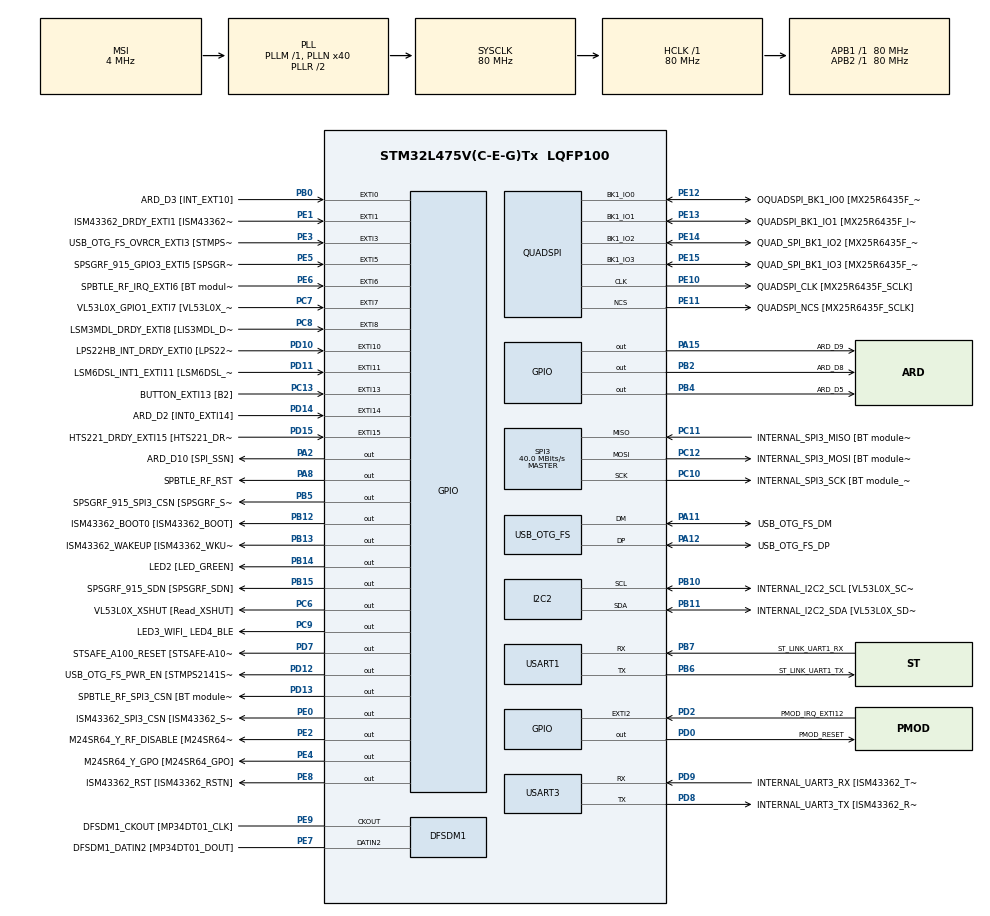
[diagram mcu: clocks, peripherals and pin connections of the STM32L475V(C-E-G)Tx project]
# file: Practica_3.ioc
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Mcu.Family=STM32L4
Mcu.Name=STM32L475V(C-E-G)Tx
Mcu.Package=LQFP100
NVIC.EXTI15_10_IRQn=true\:0\:0\:false\:false\:true\:true\:true
NVIC.EXTI9_5_IRQn=true\:0\:0\:false\:false\:true\:true\:true
NVIC.PriorityGroup=NVIC_PRIORITYGROUP_4
PA0.GPIO_Label=ARD_D1 [UART4_TX]
PA0.Signal=UART4_TX
PA1.GPIO_Label=ARD_D0 [UART4_RX]
PA1.Signal=UART4_RX
PA10.GPIO_Label=USB_OTG_FS_ID
PA10.Signal=USB_OTG_FS_ID
PA11.GPIO_Label=USB_OTG_FS_DM
PA11.Mode=Device_Only
PA11.Signal=USB_OTG_FS_DM
PA12.GPIO_Label=USB_OTG_FS_DP
PA12.Mode=Device_Only
PA12.Signal=USB_OTG_FS_DP
PA13\ (JTMS-SWDIO).GPIO_Label=SYS_JTMS_SWDIO
PA13\ (JTMS-SWDIO).Mode=Serial_Wire
PA13\ (JTMS-SWDIO).Signal=SYS_JTMS-SWDIO
PA14\ (JTCK-SWCLK).GPIO_Label=SYS_JTCK_SWCLK
PA14\ (JTCK-SWCLK).Mode=Serial_Wire
PA14\ (JTCK-SWCLK).Signal=SYS_JTCK-SWCLK
PA15\ (JTDI).GPIO_Label=ARD_D9
PA15\ (JTDI).Signal=GPIO_Output
PA2.GPIO_Label=ARD_D10 [SPI_SSN]
PA2.Signal=GPIO_Output
PA3.GPIO_Label=ARD_D4
PA3.Signal=S_TIM2_CH4
PA4.GPIO_Label=ARD_D7
PA4.Signal=ADCx_IN9
PA5.GPIO_Label=ARD_D13 [SPI1_SCK]
PA5.Signal=SPI1_SCK
PA6.GPIO_Label=ARD_D12 [SPI1_MISO]
PA6.Signal=SPI1_MISO
PA7.GPIO_Label=ARD_D11 [SPI1_MOSI]
PA7.Signal=SPI1_MOSI
PA8.GPIO_Label=SPBTLE_RF_RST
PA8.Signal=GPIO_Output
PA9.GPIO_Label=USB_OTG_FS_VBUS [STMPS2141STR_OUT]
PA9.Signal=USB_OTG_FS_VBUS
PB0.GPIO_Label=ARD_D3 [INT_EXT10]
PB0.Signal=GPXTI0
PB1.GPIO_Label=ARD_D6 [ADC1_IN6]
PB1.Signal=ADCx_IN16
PB10.GPIO_Label=INTERNAL_I2C2_SCL [VL53L0X_SCL]
PB10.Mode=I2C
PB10.Signal=I2C2_SCL
PB11.GPIO_Label=INTERNAL_I2C2_SDA [VL53L0X_SDA]
PB11.Mode=I2C
PB11.Signal=I2C2_SDA
PB12.GPIO_Label=ISM43362_BOOT0 [ISM43362_BOOT]
PB12.Signal=GPIO_Output
PB13.GPIO_Label=ISM43362_WAKEUP [ISM43362_WKUP]
PB13.Signal=GPIO_Output
PB14.GPIO_Label=LED2 [LED_GREEN]
PB14.Signal=GPIO_Output
PB15.GPIO_Label=SPSGRF_915_SDN [SPSGRF_SDN]
PB15.Signal=GPIO_Output
PB2.GPIO_Label=ARD_D8
PB2.Signal=GPIO_Output
PB3\ (JTDO-TRACESWO).GPIO_Label=SYS_JTD0_SWO
PB3\ (JTDO-TRACESWO).Signal=SYS_JTDO-SWO
PB4\ (NJTRST).GPIO_Label=ARD_D5
PB4\ (NJTRST).Signal=GPIO_Output
PB5.GPIO_Label=SPSGRF_915_SPI3_CSN [SPSGRF_SPI_CS]
PB5.PinState=GPIO_PIN_SET
PB5.Signal=GPIO_Output
PB6.GPIO_Label=ST_LINK_UART1_TX
PB6.Mode=Asynchronous
PB6.Signal=USART1_TX
PB7.GPIO_Label=ST_LINK_UART1_RX
PB7.Mode=Asynchronous
PB7.Signal=USART1_RX
PB8.GPIO_Label=ARD_D15 [I2C1_SCL]
PB8.Signal=I2C1_SCL
PB9.GPIO_Label=ARD_D14 [I2C1_SDA]
PB9.Signal=I2C1_SDA
PC0.GPIO_Label=ARD_A5 [ADC]
PC0.Signal=ADCx_IN1
PC1.GPIO_Label=ARD_A4 [ADC]
PC1.Signal=ADCx_IN2
PC10.GPIO_Label=INTERNAL_SPI3_SCK [BT module_SPI_SCLK] [ISM43362_SCK]
PC10.Mode=Full_Duplex_Master
PC10.Signal=SPI3_SCK
PC11.GPIO_Label=INTERNAL_SPI3_MISO [BT module_SPI_MISO] [ISM43362_MISO]
PC11.Mode=Full_Duplex_Master
PC11.Signal=SPI3_MISO
PC12.GPIO_Label=INTERNAL_SPI3_MOSI [BT module_SPI_MOSI] [ISM43362_MOSI]
PC12.Mode=Full_Duplex_Master
PC12.Signal=SPI3_MOSI
PC13.GPIO_Label=BUTTON_EXTI13 [B2]
PC13.GPIO_ModeDefaultEXTI=GPIO_MODE_IT_FALLING
PC13.Signal=GPXTI13
PC14-OSC32_IN\ (PC14).Mode=LSE-External-Oscillator
PC14-OSC32_IN\ (PC14).Signal=RCC_OSC32_IN
PC15-OSC32_OUT\ (PC15).Mode=LSE-External-Oscillator
PC15-OSC32_OUT\ (PC15).Signal=RCC_OSC32_OUT
PC2.GPIO_Label=ARD_A3 [ADC]
PC2.Signal=ADCx_IN3
PC3.GPIO_Label=ARD_A2 [ADC]
PC3.Signal=ADCx_IN4
PC4.GPIO_Label=ARD_A1 [ADC]
PC4.Signal=ADCx_IN13
PC5.GPIO_Label=ARD_A0 [ADC]
PC5.Signal=ADCx_IN14
PC6.GPIO_Label=VL53L0X_XSHUT [Read_XSHUT]
PC6.Signal=GPIO_Output
PC7.GPIO_Label=VL53L0X_GPIO1_EXTI7 [VL53L0X_GPIO1]
PC7.Signal=GPXTI7
PC8.GPIO_Label=LSM3MDL_DRDY_EXTI8 [LIS3MDL_DRDY]
PC8.Signal=GPXTI8
PC9.GPIO_Label=LED3_WIFI_ LED4_BLE
PC9.Signal=GPIO_Output
PD0.GPIO_Label=PMOD_RESET
PD0.Signal=GPIO_Output
PD1.GPIO_Label=PMOD_SPI2_SCK
PD1.Signal=SPI2_SCK
PD10.GPIO_Label=LPS22HB_INT_DRDY_EXTI0 [LPS22HB_INT_DRDY] 
PD10.Signal=GPXTI10
PD11.GPIO_Label=LSM6DSL_INT1_EXTI11 [LSM6DSL_INT1]
PD11.Signal=GPXTI11
PD12.GPIO_Label=USB_OTG_FS_PWR_EN [STMPS2141STR_EN]
PD12.Signal=GPIO_Output
PD13.GPIO_Label=SPBTLE_RF_SPI3_CSN [BT module_SPI_CS]
PD13.PinState=GPIO_PIN_SET
PD13.Signal=GPIO_Output
PD14.GPIO_Label=ARD_D2 [INT0_EXTI14]
PD14.Signal=GPXTI14
PD15.GPIO_Label=HTS221_DRDY_EXTI15 [HTS221_DRDY]
PD15.Signal=GPXTI15
PD2.GPIO_Label=PMOD_IRQ_EXTI12
PD2.Signal=GPXTI2
PD3.GPIO_Label=PMOD_UART2_CTS
PD3.Signal=USART2_CTS
PD4.GPIO_Label=PMOD_UART2_RTS
PD4.Signal=USART2_RTS
PD5.GPIO_Label=PMOD_UART2_TX
PD5.Signal=USART2_TX
PD6.GPIO_Label=PMOD_UART2_RX
PD6.Signal=USART2_RX
PD7.GPIO_Label=STSAFE_A100_RESET [STSAFE-A100_RESET]
PD7.Signal=GPIO_Output
PD8.GPIO_Label=INTERNAL_UART3_TX [ISM43362_RX]
PD8.Mode=Asynchronous
PD8.Signal=USART3_TX
PD9.GPIO_Label=INTERNAL_UART3_RX [ISM43362_TX]
PD9.Mode=Asynchronous
PD9.Signal=USART3_RX
PE0.GPIO_Label=ISM43362_SPI3_CSN [ISM43362_SSN]
PE0.PinState=GPIO_PIN_SET
PE0.Signal=GPIO_Output
PE1.GPIO_Label=ISM43362_DRDY_EXTI1 [ISM43362_DATARDY]
PE1.Signal=GPXTI1
PE10.GPIO_Label=QUADSPI_CLK [MX25R6435F_SCLK]
PE10.Mode=Single Bank
PE10.Signal=QUADSPI_CLK
PE11.GPIO_Label=QUADSPI_NCS [MX25R6435F_SCLK]
PE11.Mode=Single Bank
PE11.Signal=QUADSPI_NCS
PE12.GPIO_Label=OQUADSPI_BK1_IO0 [MX25R6435F_IO0]
PE12.Mode=Single Bank
PE12.Signal=QUADSPI_BK1_IO0
PE13.GPIO_Label=QUADSPI_BK1_IO1 [MX25R6435F_IO1]
PE13.Mode=Single Bank
PE13.Signal=QUADSPI_BK1_IO1
PE14.GPIO_Label=QUAD_SPI_BK1_IO2 [MX25R6435F_IO2]
PE14.Mode=Single Bank
PE14.Signal=QUADSPI_BK1_IO2
PE15.GPIO_Label=QUAD_SPI_BK1_IO3 [MX25R6435F_IO3]
PE15.Mode=Single Bank
PE15.Signal=QUADSPI_BK1_IO3
PE2.GPIO_Label=M24SR64_Y_RF_DISABLE [M24SR64_RFDIS]
PE2.Signal=GPIO_Output
PE3.GPIO_Label=USB_OTG_FS_OVRCR_EXTI3 [STMPS2141STR_FAULT]
PE3.Signal=GPXTI3
PE4.GPIO_Label=M24SR64_Y_GPO [M24SR64_GPO]
PE4.Signal=GPIO_Output
PE5.GPIO_Label=SPSGRF_915_GPIO3_EXTI5 [SPSGRF_GPIO_3]
PE5.Signal=GPXTI5
PE6.GPIO_Label=SPBTLE_RF_IRQ_EXTI6 [BT module_SPI_IRQ]
PE6.Signal=GPXTI6
PE7.GPIO_Label=DFSDM1_DATIN2 [MP34DT01_DOUT]
PE7.Signal=S_DATAIN2DFSDM1
PE8.GPIO_Label=ISM43362_RST [ISM43362_RSTN]
PE8.Signal=GPIO_Output
PE9.GPIO_Label=DFSDM1_CKOUT [MP34DT01_CLK]
PE9.Signal=S_CKOUTDFSDM1
ProjectManager.HeapSize=0x200
ProjectManager.StackSize=0x400
ProjectManager.TargetToolchain=STM32CubeIDE
RCC.ADCFreq_Value=48000000
RCC.AHBFreq_Value=80000000
RCC.APB1Freq_Value=80000000
RCC.APB1TimFreq_Value=80000000
RCC.APB2Freq_Value=80000000
RCC.APB2TimFreq_Value=80000000
RCC.CortexFreq_Value=80000000
RCC.HCLKFreq_Value=80000000
RCC.HSE_VALUE=8000000
RCC.HSI_VALUE=16000000
RCC.MSI_VALUE=4000000
RCC.PLLN=40
RCC.PLLSAI1N=24
RCC.SYSCLKFreq_VALUE=80000000
RCC.SYSCLKSource=RCC_SYSCLKSOURCE_PLLCLK
RCC.USBFreq_Value=48000000
RCC.VCOOutputFreq_Value=160000000
SH.ADCx_IN1.0=ADC1_IN1
SH.ADCx_IN13.0=ADC1_IN13
SH.ADCx_IN14.0=ADC1_IN14
SH.ADCx_IN16.0=ADC1_IN16
SH.ADCx_IN2.0=ADC1_IN2
SH.ADCx_IN3.0=ADC1_IN3
SH.ADCx_IN4.0=ADC1_IN4
SH.ADCx_IN9.0=ADC1_IN9
SH.S_CKOUTDFSDM1.0=DFSDM1_CKOUT,CKOUT
SH.S_CKOUTDFSDM1.1=DFSDM1_CKOUT,PDM_SPI_Input_from_ch12_and_Internal_Clock
SH.S_DATAIN2DFSDM1.0=DFSDM1_DATIN2,PDM_SPI_Input_from_ch12_and_Internal_Clock
SH.S_TIM2_CH4.0=TIM2_CH4
SPI3.CalculateBaudRate=40.0 MBits/s
SPI3.Direction=SPI_DIRECTION_2LINES
SPI3.Mode=SPI_MODE_MASTER
SPI3.VirtualType=VM_MASTER
USART1.VirtualMode-Asynchronous=VM_ASYNC
USART3.VirtualMode-Asynchronous=VM_ASYNC
USB_OTG_FS.VirtualMode=Device_Only
board=B-L475E-IOT01A1

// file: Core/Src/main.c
/* USER CODE BEGIN Header */
/**
  ******************************************************************************
  * @file           : main.c
  * @brief          : Main program body
  ******************************************************************************
  * @attention
  *
  * <h2><center>&copy; Copyright (c) 2021 STMicroelectronics.
  * All rights reserved.</center></h2>
  *
  * This software component is licensed by ST under BSD 3-Clause license,
  * the "License"; You may not use this file except in compliance with the
  * License. You may obtain a copy of the License at:
  *                        opensource.org/licenses/BSD-3-Clause
  *
  ******************************************************************************
  */
/* USER CODE END Header */

#include "main.h"

/* USER CODE BEGIN Includes */
#include "Practica_3.h"
/* USER CODE END Includes */

/* USER CODE BEGIN PM */
#ifdef __GNUC__

#define PUTCHAR_PROTOTYPE int __io_putchar(int ch)
#define GETCHAR_PROTOTYPE int __io_getchar(void)
#else
#define PUTCHAR_PROTOTYPE int fputc(int ch, FILE *f)
#define GETCHAR_PROTOTYPE int fgetc(FILE *f)
#endif
/* USER CODE END PM */

DFSDM_Channel_HandleTypeDef hdfsdm1_channel1;

I2C_HandleTypeDef hi2c2;

QSPI_HandleTypeDef hqspi;

SPI_HandleTypeDef hspi3;

UART_HandleTypeDef huart1;
UART_HandleTypeDef huart3;

PCD_HandleTypeDef hpcd_USB_OTG_FS;

void SystemClock_Config(void);
static void MX_GPIO_Init(void);
static void MX_DFSDM1_Init(void);
static void MX_I2C2_Init(void);
static void MX_QUADSPI_Init(void);
static void MX_SPI3_Init(void);
static void MX_USART1_UART_Init(void);
static void MX_USART3_UART_Init(void);
static void MX_USB_OTG_FS_PCD_Init(void);

/* USER CODE BEGIN 0 */
PUTCHAR_PROTOTYPE{
	while(HAL_OK != HAL_UART_Transmit(&huart1, (uint8_t *) &ch, 1, 30000)){
		;
	}
	return ch;
}

GETCHAR_PROTOTYPE{
	char ch;
	while(HAL_OK != HAL_UART_Receive(&huart1, (uint8_t *) &ch, 1, 30000)){
		;
	}
	return ch;
}
/* USER CODE END 0 */

int main(void)
{

  /* MCU Configuration--------------------------------------------------------*/

  /* Reset of all peripherals, Initializes the Flash interface and the Systick. */
  HAL_Init();

  /* Configure the system clock */
  SystemClock_Config();

  /* Initialize all configured peripherals */
  MX_GPIO_Init();
  MX_DFSDM1_Init();
  MX_I2C2_Init();
  MX_QUADSPI_Init();
  MX_SPI3_Init();
  MX_USART1_UART_Init();
  MX_USART3_UART_Init();
  MX_USB_OTG_FS_PCD_Init();

  /* Infinite loop */
  /* USER CODE BEGIN WHILE */
  while (1)
  {
	  Tempereature_Test();
	  //Humidity_Test();
	  //Pressure_Test();
	  //Magneto_Test();
	  //Gyro_Test();
    /* USER CODE END WHILE */

  }
}

void SystemClock_Config(void)
{
  RCC_OscInitTypeDef RCC_OscInitStruct = {0};
  RCC_ClkInitTypeDef RCC_ClkInitStruct = {0};
  RCC_PeriphCLKInitTypeDef PeriphClkInit = {0};

  /** Configure LSE Drive Capability
  */
  HAL_PWR_EnableBkUpAccess();
  __HAL_RCC_LSEDRIVE_CONFIG(RCC_LSEDRIVE_LOW);
  /** Initializes the CPU, AHB and APB busses clocks
  */
  RCC_OscInitStruct.OscillatorType = RCC_OSCILLATORTYPE_LSE|RCC_OSCILLATORTYPE_MSI;
  RCC_OscInitStruct.LSEState = RCC_LSE_ON;
  RCC_OscInitStruct.MSIState = RCC_MSI_ON;
  RCC_OscInitStruct.MSICalibrationValue = 0;
  RCC_OscInitStruct.MSIClockRange = RCC_MSIRANGE_6;
  RCC_OscInitStruct.PLL.PLLState = RCC_PLL_ON;
  RCC_OscInitStruct.PLL.PLLSource = RCC_PLLSOURCE_MSI;
  RCC_OscInitStruct.PLL.PLLM = 1;
  RCC_OscInitStruct.PLL.PLLN = 40;
  RCC_OscInitStruct.PLL.PLLP = RCC_PLLP_DIV7;
  RCC_OscInitStruct.PLL.PLLQ = RCC_PLLQ_DIV2;
  RCC_OscInitStruct.PLL.PLLR = RCC_PLLR_DIV2;
  if (HAL_RCC_OscConfig(&RCC_OscInitStruct) != HAL_OK)
  {
    Error_Handler();
  }
  /** Initializes the CPU, AHB and APB busses clocks
  */
  RCC_ClkInitStruct.ClockType = RCC_CLOCKTYPE_HCLK|RCC_CLOCKTYPE_SYSCLK
                              |RCC_CLOCKTYPE_PCLK1|RCC_CLOCKTYPE_PCLK2;
  RCC_ClkInitStruct.SYSCLKSource = RCC_SYSCLKSOURCE_PLLCLK;
  RCC_ClkInitStruct.AHBCLKDivider = RCC_SYSCLK_DIV1;
  RCC_ClkInitStruct.APB1CLKDivider = RCC_HCLK_DIV1;
  RCC_ClkInitStruct.APB2CLKDivider = RCC_HCLK_DIV1;

  if (HAL_RCC_ClockConfig(&RCC_ClkInitStruct, FLASH_LATENCY_4) != HAL_OK)
  {
    Error_Handler();
  }
  PeriphClkInit.PeriphClockSelection = RCC_PERIPHCLK_USART1|RCC_PERIPHCLK_USART3
                              |RCC_PERIPHCLK_I2C2|RCC_PERIPHCLK_DFSDM1
                              |RCC_PERIPHCLK_USB;
  PeriphClkInit.Usart1ClockSelection = RCC_USART1CLKSOURCE_PCLK2;
  PeriphClkInit.Usart3ClockSelection = RCC_USART3CLKSOURCE_PCLK1;
  PeriphClkInit.I2c2ClockSelection = RCC_I2C2CLKSOURCE_PCLK1;
  PeriphClkInit.Dfsdm1ClockSelection = RCC_DFSDM1CLKSOURCE_PCLK;
  PeriphClkInit.UsbClockSelection = RCC_USBCLKSOURCE_PLLSAI1;
  PeriphClkInit.PLLSAI1.PLLSAI1Source = RCC_PLLSOURCE_MSI;
  PeriphClkInit.PLLSAI1.PLLSAI1M = 1;
  PeriphClkInit.PLLSAI1.PLLSAI1N = 24;
  PeriphClkInit.PLLSAI1.PLLSAI1P = RCC_PLLP_DIV7;
  PeriphClkInit.PLLSAI1.PLLSAI1Q = RCC_PLLQ_DIV2;
  PeriphClkInit.PLLSAI1.PLLSAI1R = RCC_PLLR_DIV2;
  PeriphClkInit.PLLSAI1.PLLSAI1ClockOut = RCC_PLLSAI1_48M2CLK;
  if (HAL_RCCEx_PeriphCLKConfig(&PeriphClkInit) != HAL_OK)
  {
    Error_Handler();
  }
  /** Configure the main internal regulator output voltage
  */
  if (HAL_PWREx_ControlVoltageScaling(PWR_REGULATOR_VOLTAGE_SCALE1) != HAL_OK)
  {
    Error_Handler();
  }
  /** Enable MSI Auto calibration
  */
  HAL_RCCEx_EnableMSIPLLMode();
}

static void MX_DFSDM1_Init(void)
{

  hdfsdm1_channel1.Instance = DFSDM1_Channel1;
  hdfsdm1_channel1.Init.OutputClock.Activation = ENABLE;
  hdfsdm1_channel1.Init.OutputClock.Selection = DFSDM_CHANNEL_OUTPUT_CLOCK_SYSTEM;
  hdfsdm1_channel1.Init.OutputClock.Divider = 2;
  hdfsdm1_channel1.Init.Input.Multiplexer = DFSDM_CHANNEL_EXTERNAL_INPUTS;
  hdfsdm1_channel1.Init.Input.DataPacking = DFSDM_CHANNEL_STANDARD_MODE;
  hdfsdm1_channel1.Init.Input.Pins = DFSDM_CHANNEL_FOLLOWING_CHANNEL_PINS;
  hdfsdm1_channel1.Init.SerialInterface.Type = DFSDM_CHANNEL_SPI_RISING;
  hdfsdm1_channel1.Init.SerialInterface.SpiClock = DFSDM_CHANNEL_SPI_CLOCK_INTERNAL;
  hdfsdm1_channel1.Init.Awd.FilterOrder = DFSDM_CHANNEL_FASTSINC_ORDER;
  hdfsdm1_channel1.Init.Awd.Oversampling = 1;
  hdfsdm1_channel1.Init.Offset = 0;
  hdfsdm1_channel1.Init.RightBitShift = 0x00;
  if (HAL_DFSDM_ChannelInit(&hdfsdm1_channel1) != HAL_OK)
  {
    Error_Handler();
  }

}

static void MX_I2C2_Init(void)
{

  hi2c2.Instance = I2C2;
  hi2c2.Init.Timing = 0x00000E14;
  hi2c2.Init.OwnAddress1 = 0;
  hi2c2.Init.AddressingMode = I2C_ADDRESSINGMODE_7BIT;
  hi2c2.Init.DualAddressMode = I2C_DUALADDRESS_DISABLE;
  hi2c2.Init.OwnAddress2 = 0;
  hi2c2.Init.OwnAddress2Masks = I2C_OA2_NOMASK;
  hi2c2.Init.GeneralCallMode = I2C_GENERALCALL_DISABLE;
  hi2c2.Init.NoStretchMode = I2C_NOSTRETCH_DISABLE;
  if (HAL_I2C_Init(&hi2c2) != HAL_OK)
  {
    Error_Handler();
  }
  /** Configure Analogue filter
  */
  if (HAL_I2CEx_ConfigAnalogFilter(&hi2c2, I2C_ANALOGFILTER_ENABLE) != HAL_OK)
  {
    Error_Handler();
  }
  /** Configure Digital filter
  */
  if (HAL_I2CEx_ConfigDigitalFilter(&hi2c2, 0) != HAL_OK)
  {
    Error_Handler();
  }

}

static void MX_QUADSPI_Init(void)
{

  /* QUADSPI parameter configuration*/
  hqspi.Instance = QUADSPI;
  hqspi.Init.ClockPrescaler = 255;
  hqspi.Init.FifoThreshold = 1;
  hqspi.Init.SampleShifting = QSPI_SAMPLE_SHIFTING_NONE;
  hqspi.Init.FlashSize = 1;
  hqspi.Init.ChipSelectHighTime = QSPI_CS_HIGH_TIME_1_CYCLE;
  hqspi.Init.ClockMode = QSPI_CLOCK_MODE_0;
  if (HAL_QSPI_Init(&hqspi) != HAL_OK)
  {
    Error_Handler();
  }

}

static void MX_SPI3_Init(void)
{

  /* SPI3 parameter configuration*/
  hspi3.Instance = SPI3;
  hspi3.Init.Mode = SPI_MODE_MASTER;
  hspi3.Init.Direction = SPI_DIRECTION_2LINES;
  hspi3.Init.DataSize = SPI_DATASIZE_4BIT;
  hspi3.Init.CLKPolarity = SPI_POLARITY_LOW;
  hspi3.Init.CLKPhase = SPI_PHASE_1EDGE;
  hspi3.Init.NSS = SPI_NSS_SOFT;
  hspi3.Init.BaudRatePrescaler = SPI_BAUDRATEPRESCALER_2;
  hspi3.Init.FirstBit = SPI_FIRSTBIT_MSB;
  hspi3.Init.TIMode = SPI_TIMODE_DISABLE;
  hspi3.Init.CRCCalculation = SPI_CRCCALCULATION_DISABLE;
  hspi3.Init.CRCPolynomial = 7;
  hspi3.Init.CRCLength = SPI_CRC_LENGTH_DATASIZE;
  hspi3.Init.NSSPMode = SPI_NSS_PULSE_ENABLE;
  if (HAL_SPI_Init(&hspi3) != HAL_OK)
  {
    Error_Handler();
  }

}

static void MX_USART1_UART_Init(void)
{

  huart1.Instance = USART1;
  huart1.Init.BaudRate = 115200;
  huart1.Init.WordLength = UART_WORDLENGTH_8B;
  huart1.Init.StopBits = UART_STOPBITS_1;
  huart1.Init.Parity = UART_PARITY_NONE;
  huart1.Init.Mode = UART_MODE_TX_RX;
  huart1.Init.HwFlowCtl = UART_HWCONTROL_NONE;
  huart1.Init.OverSampling = UART_OVERSAMPLING_16;
  huart1.Init.OneBitSampling = UART_ONE_BIT_SAMPLE_DISABLE;
  huart1.AdvancedInit.AdvFeatureInit = UART_ADVFEATURE_NO_INIT;
  if (HAL_UART_Init(&huart1) != HAL_OK)
  {
    Error_Handler();
  }

}

static void MX_USART3_UART_Init(void)
{

  huart3.Instance = USART3;
  huart3.Init.BaudRate = 115200;
  huart3.Init.WordLength = UART_WORDLENGTH_8B;
  huart3.Init.StopBits = UART_STOPBITS_1;
  huart3.Init.Parity = UART_PARITY_NONE;
  huart3.Init.Mode = UART_MODE_TX_RX;
  huart3.Init.HwFlowCtl = UART_HWCONTROL_NONE;
  huart3.Init.OverSampling = UART_OVERSAMPLING_16;
  huart3.Init.OneBitSampling = UART_ONE_BIT_SAMPLE_DISABLE;
  huart3.AdvancedInit.AdvFeatureInit = UART_ADVFEATURE_NO_INIT;
  if (HAL_UART_Init(&huart3) != HAL_OK)
  {
    Error_Handler();
  }

}

static void MX_USB_OTG_FS_PCD_Init(void)
{

  hpcd_USB_OTG_FS.Instance = USB_OTG_FS;
  hpcd_USB_OTG_FS.Init.dev_endpoints = 6;
  hpcd_USB_OTG_FS.Init.speed = PCD_SPEED_FULL;
  hpcd_USB_OTG_FS.Init.phy_itface = PCD_PHY_EMBEDDED;
  hpcd_USB_OTG_FS.Init.Sof_enable = DISABLE;
  hpcd_USB_OTG_FS.Init.low_power_enable = DISABLE;
  hpcd_USB_OTG_FS.Init.lpm_enable = DISABLE;
  hpcd_USB_OTG_FS.Init.battery_charging_enable = DISABLE;
  hpcd_USB_OTG_FS.Init.use_dedicated_ep1 = DISABLE;
  hpcd_USB_OTG_FS.Init.vbus_sensing_enable = DISABLE;
  if (HAL_PCD_Init(&hpcd_USB_OTG_FS) != HAL_OK)
  {
    Error_Handler();
  }

}

static void MX_GPIO_Init(void)
{
  GPIO_InitTypeDef GPIO_InitStruct = {0};

  /* GPIO Ports Clock Enable */
  __HAL_RCC_GPIOE_CLK_ENABLE();
  __HAL_RCC_GPIOC_CLK_ENABLE();
  __HAL_RCC_GPIOA_CLK_ENABLE();
  __HAL_RCC_GPIOB_CLK_ENABLE();
  __HAL_RCC_GPIOD_CLK_ENABLE();

  /*Configure GPIO pin Output Level */
  HAL_GPIO_WritePin(GPIOE, M24SR64_Y_RF_DISABLE_Pin|M24SR64_Y_GPO_Pin|ISM43362_RST_Pin, GPIO_PIN_RESET);

  /*Configure GPIO pin Output Level */
  HAL_GPIO_WritePin(GPIOA, ARD_D10_Pin|SPBTLE_RF_RST_Pin|ARD_D9_Pin, GPIO_PIN_RESET);

  /*Configure GPIO pin Output Level */
  HAL_GPIO_WritePin(GPIOB, ARD_D8_Pin|ISM43362_BOOT0_Pin|ISM43362_WAKEUP_Pin|LED2_Pin
                          |SPSGRF_915_SDN_Pin|ARD_D5_Pin, GPIO_PIN_RESET);

  /*Configure GPIO pin Output Level */
  HAL_GPIO_WritePin(GPIOD, USB_OTG_FS_PWR_EN_Pin|PMOD_RESET_Pin|STSAFE_A100_RESET_Pin, GPIO_PIN_RESET);

  /*Configure GPIO pin Output Level */
  HAL_GPIO_WritePin(SPBTLE_RF_SPI3_CSN_GPIO_Port, SPBTLE_RF_SPI3_CSN_Pin, GPIO_PIN_SET);

  /*Configure GPIO pin Output Level */
  HAL_GPIO_WritePin(GPIOC, VL53L0X_XSHUT_Pin|LED3_WIFI__LED4_BLE_Pin, GPIO_PIN_RESET);

  /*Configure GPIO pin Output Level */
  HAL_GPIO_WritePin(SPSGRF_915_SPI3_CSN_GPIO_Port, SPSGRF_915_SPI3_CSN_Pin, GPIO_PIN_SET);

  /*Configure GPIO pin Output Level */
  HAL_GPIO_WritePin(ISM43362_SPI3_CSN_GPIO_Port, ISM43362_SPI3_CSN_Pin, GPIO_PIN_SET);

  /*Configure GPIO pins : M24SR64_Y_RF_DISABLE_Pin M24SR64_Y_GPO_Pin ISM43362_RST_Pin ISM43362_SPI3_CSN_Pin */
  GPIO_InitStruct.Pin = M24SR64_Y_RF_DISABLE_Pin|M24SR64_Y_GPO_Pin|ISM43362_RST_Pin|ISM43362_SPI3_CSN_Pin;
  GPIO_InitStruct.Mode = GPIO_MODE_OUTPUT_PP;
  GPIO_InitStruct.Pull = GPIO_NOPULL;
  GPIO_InitStruct.Speed = GPIO_SPEED_FREQ_LOW;
  HAL_GPIO_Init(GPIOE, &GPIO_InitStruct);

  /*Configure GPIO pins : USB_OTG_FS_OVRCR_EXTI3_Pin SPSGRF_915_GPIO3_EXTI5_Pin SPBTLE_RF_IRQ_EXTI6_Pin ISM43362_DRDY_EXTI1_Pin */
  GPIO_InitStruct.Pin = USB_OTG_FS_OVRCR_EXTI3_Pin|SPSGRF_915_GPIO3_EXTI5_Pin|SPBTLE_RF_IRQ_EXTI6_Pin|ISM43362_DRDY_EXTI1_Pin;
  GPIO_InitStruct.Mode = GPIO_MODE_IT_RISING;
  GPIO_InitStruct.Pull = GPIO_NOPULL;
  HAL_GPIO_Init(GPIOE, &GPIO_InitStruct);

  /*Configure GPIO pin : BUTTON_EXTI13_Pin */
  GPIO_InitStruct.Pin = BUTTON_EXTI13_Pin;
  GPIO_InitStruct.Mode = GPIO_MODE_IT_FALLING;
  GPIO_InitStruct.Pull = GPIO_NOPULL;
  HAL_GPIO_Init(BUTTON_EXTI13_GPIO_Port, &GPIO_InitStruct);

  /*Configure GPIO pins : ARD_A5_Pin ARD_A4_Pin ARD_A3_Pin ARD_A2_Pin
                           ARD_A1_Pin ARD_A0_Pin */
  GPIO_InitStruct.Pin = ARD_A5_Pin|ARD_A4_Pin|ARD_A3_Pin|ARD_A2_Pin
                          |ARD_A1_Pin|ARD_A0_Pin;
  GPIO_InitStruct.Mode = GPIO_MODE_ANALOG_ADC_CONTROL;
  GPIO_InitStruct.Pull = GPIO_NOPULL;
  HAL_GPIO_Init(GPIOC, &GPIO_InitStruct);

  /*Configure GPIO pins : ARD_D1_Pin ARD_D0_Pin */
  GPIO_InitStruct.Pin = ARD_D1_Pin|ARD_D0_Pin;
  GPIO_InitStruct.Mode = GPIO_MODE_AF_PP;
  GPIO_InitStruct.Pull = GPIO_NOPULL;
  GPIO_InitStruct.Speed = GPIO_SPEED_FREQ_VERY_HIGH;
  GPIO_InitStruct.Alternate = GPIO_AF8_UART4;
  HAL_GPIO_Init(GPIOA, &GPIO_InitStruct);

  /*Configure GPIO pins : ARD_D10_Pin SPBTLE_RF_RST_Pin ARD_D9_Pin */
  GPIO_InitStruct.Pin = ARD_D10_Pin|SPBTLE_RF_RST_Pin|ARD_D9_Pin;
  GPIO_InitStruct.Mode = GPIO_MODE_OUTPUT_PP;
  GPIO_InitStruct.Pull = GPIO_NOPULL;
  GPIO_InitStruct.Speed = GPIO_SPEED_FREQ_LOW;
  HAL_GPIO_Init(GPIOA, &GPIO_InitStruct);

  /*Configure GPIO pin : ARD_D4_Pin */
  GPIO_InitStruct.Pin = ARD_D4_Pin;
  GPIO_InitStruct.Mode = GPIO_MODE_AF_PP;
  GPIO_InitStruct.Pull = GPIO_NOPULL;
  GPIO_InitStruct.Speed = GPIO_SPEED_FREQ_LOW;
  GPIO_InitStruct.Alternate = GPIO_AF1_TIM2;
  HAL_GPIO_Init(ARD_D4_GPIO_Port, &GPIO_InitStruct);

  /*Configure GPIO pin : ARD_D7_Pin */
  GPIO_InitStruct.Pin = ARD_D7_Pin;
  GPIO_InitStruct.Mode = GPIO_MODE_ANALOG_ADC_CONTROL;
  GPIO_InitStruct.Pull = GPIO_NOPULL;
  HAL_GPIO_Init(ARD_D7_GPIO_Port, &GPIO_InitStruct);

  /*Configure GPIO pins : ARD_D13_Pin ARD_D12_Pin ARD_D11_Pin */
  GPIO_InitStruct.Pin = ARD_D13_Pin|ARD_D12_Pin|ARD_D11_Pin;
  GPIO_InitStruct.Mode = GPIO_MODE_AF_PP;
  GPIO_InitStruct.Pull = GPIO_NOPULL;
  GPIO_InitStruct.Speed = GPIO_SPEED_FREQ_VERY_HIGH;
  GPIO_InitStruct.Alternate = GPIO_AF5_SPI1;
  HAL_GPIO_Init(GPIOA, &GPIO_InitStruct);

  /*Configure GPIO pin : ARD_D3_Pin */
  GPIO_InitStruct.Pin = ARD_D3_Pin;
  GPIO_InitStruct.Mode = GPIO_MODE_IT_RISING;
  GPIO_InitStruct.Pull = GPIO_NOPULL;
  HAL_GPIO_Init(ARD_D3_GPIO_Port, &GPIO_InitStruct);

  /*Configure GPIO pin : ARD_D6_Pin */
  GPIO_InitStruct.Pin = ARD_D6_Pin;
  GPIO_InitStruct.Mode = GPIO_MODE_ANALOG_ADC_CONTROL;
  GPIO_InitStruct.Pull = GPIO_NOPULL;
  HAL_GPIO_Init(ARD_D6_GPIO_Port, &GPIO_InitStruct);

  /*Configure GPIO pins : ARD_D8_Pin ISM43362_BOOT0_Pin ISM43362_WAKEUP_Pin LED2_Pin
                           SPSGRF_915_SDN_Pin ARD_D5_Pin SPSGRF_915_SPI3_CSN_Pin */
  GPIO_InitStruct.Pin = ARD_D8_Pin|ISM43362_BOOT0_Pin|ISM43362_WAKEUP_Pin|LED2_Pin
                          |SPSGRF_915_SDN_Pin|ARD_D5_Pin|SPSGRF_915_SPI3_CSN_Pin;
  GPIO_InitStruct.Mode = GPIO_MODE_OUTPUT_PP;
  GPIO_InitStruct.Pull = GPIO_NOPULL;
  GPIO_InitStruct.Speed = GPIO_SPEED_FREQ_LOW;
  HAL_GPIO_Init(GPIOB, &GPIO_InitStruct);

  /*Configure GPIO pins : LPS22HB_INT_DRDY_EXTI0_Pin LSM6DSL_INT1_EXTI11_Pin ARD_D2_Pin HTS221_DRDY_EXTI15_Pin
                           PMOD_IRQ_EXTI12_Pin */
  GPIO_InitStruct.Pin = LPS22HB_INT_DRDY_EXTI0_Pin|LSM6DSL_INT1_EXTI11_Pin|ARD_D2_Pin|HTS221_DRDY_EXTI15_Pin
                          |PMOD_IRQ_EXTI12_Pin;
  GPIO_InitStruct.Mode = GPIO_MODE_IT_RISING;
  GPIO_InitStruct.Pull = GPIO_NOPULL;
  HAL_GPIO_Init(GPIOD, &GPIO_InitStruct);

  /*Configure GPIO pins : USB_OTG_FS_PWR_EN_Pin SPBTLE_RF_SPI3_CSN_Pin PMOD_RESET_Pin STSAFE_A100_RESET_Pin */
  GPIO_InitStruct.Pin = USB_OTG_FS_PWR_EN_Pin|SPBTLE_RF_SPI3_CSN_Pin|PMOD_RESET_Pin|STSAFE_A100_RESET_Pin;
  GPIO_InitStruct.Mode = GPIO_MODE_OUTPUT_PP;
  GPIO_InitStruct.Pull = GPIO_NOPULL;
  GPIO_InitStruct.Speed = GPIO_SPEED_FREQ_LOW;
  HAL_GPIO_Init(GPIOD, &GPIO_InitStruct);

  /*Configure GPIO pins : VL53L0X_XSHUT_Pin LED3_WIFI__LED4_BLE_Pin */
  GPIO_InitStruct.Pin = VL53L0X_XSHUT_Pin|LED3_WIFI__LED4_BLE_Pin;
  GPIO_InitStruct.Mode = GPIO_MODE_OUTPUT_PP;
  GPIO_InitStruct.Pull = GPIO_NOPULL;
  GPIO_InitStruct.Speed = GPIO_SPEED_FREQ_LOW;
  HAL_GPIO_Init(GPIOC, &GPIO_InitStruct);

  /*Configure GPIO pins : VL53L0X_GPIO1_EXTI7_Pin LSM3MDL_DRDY_EXTI8_Pin */
  GPIO_InitStruct.Pin = VL53L0X_GPIO1_EXTI7_Pin|LSM3MDL_DRDY_EXTI8_Pin;
  GPIO_InitStruct.Mode = GPIO_MODE_IT_RISING;
  GPIO_InitStruct.Pull = GPIO_NOPULL;
  HAL_GPIO_Init(GPIOC, &GPIO_InitStruct);

  /*Configure GPIO pin : PMOD_SPI2_SCK_Pin */
  GPIO_InitStruct.Pin = PMOD_SPI2_SCK_Pin;
  GPIO_InitStruct.Mode = GPIO_MODE_AF_PP;
  GPIO_InitStruct.Pull = GPIO_NOPULL;
  GPIO_InitStruct.Speed = GPIO_SPEED_FREQ_VERY_HIGH;
  GPIO_InitStruct.Alternate = GPIO_AF5_SPI2;
  HAL_GPIO_Init(PMOD_SPI2_SCK_GPIO_Port, &GPIO_InitStruct);

  /*Configure GPIO pins : PMOD_UART2_CTS_Pin PMOD_UART2_RTS_Pin PMOD_UART2_TX_Pin PMOD_UART2_RX_Pin */
  GPIO_InitStruct.Pin = PMOD_UART2_CTS_Pin|PMOD_UART2_RTS_Pin|PMOD_UART2_TX_Pin|PMOD_UART2_RX_Pin;
  GPIO_InitStruct.Mode = GPIO_MODE_AF_PP;
  GPIO_InitStruct.Pull = GPIO_NOPULL;
  GPIO_InitStruct.Speed = GPIO_SPEED_FREQ_VERY_HIGH;
  GPIO_InitStruct.Alternate = GPIO_AF7_USART2;
  HAL_GPIO_Init(GPIOD, &GPIO_InitStruct);

  /*Configure GPIO pins : ARD_D15_Pin ARD_D14_Pin */
  GPIO_InitStruct.Pin = ARD_D15_Pin|ARD_D14_Pin;
  GPIO_InitStruct.Mode = GPIO_MODE_AF_OD;
  GPIO_InitStruct.Pull = GPIO_PULLUP;
  GPIO_InitStruct.Speed = GPIO_SPEED_FREQ_VERY_HIGH;
  GPIO_InitStruct.Alternate = GPIO_AF4_I2C1;
  HAL_GPIO_Init(GPIOB, &GPIO_InitStruct);

  /* EXTI interrupt init*/
  HAL_NVIC_SetPriority(EXTI9_5_IRQn, 0, 0);
  HAL_NVIC_EnableIRQ(EXTI9_5_IRQn);

  HAL_NVIC_SetPriority(EXTI15_10_IRQn, 0, 0);
  HAL_NVIC_EnableIRQ(EXTI15_10_IRQn);

}

void Error_Handler(void)
{
}

/************************ (C) COPYRIGHT STMicroelectronics *****END OF FILE****/
